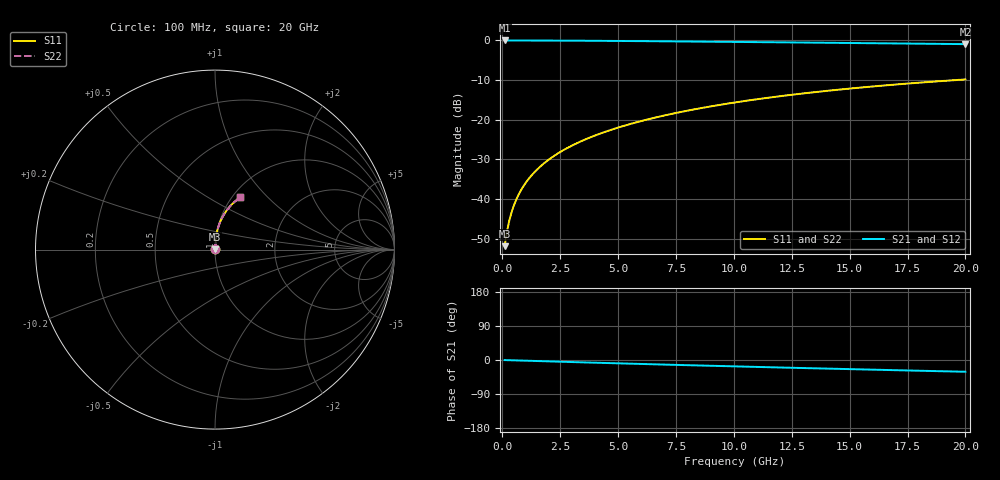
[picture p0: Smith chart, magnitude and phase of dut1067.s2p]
! Touchstone file exported from HFSS 2024.1.0
!  File:  C:/UserFiles/LocalFiles/RDL_TSV_Batchsim/temp_RDL_bottom_1067_1780052595.aedt
!  Generated:  07:05:45 PM May 29, 2026
!  Design:  RDL_bottom
!  Project:  temp_RDL_bottom_1067_1780052595
!  Setup:  Setup1
!  Solution:  Sweep
! Variables:
!  dtsv = 10.80580581um
!  hbump = 3um
!  htsv = 58.67um
!  ldown = 414.89um
!  lrdl = 100um
!  p = 40
!  p1 = 50.41um
!  rhole = 1um
!  t = 450um
!  tdown = 4.26um
!  trdl = 3.915915916um
!  wdown = 19.41um
!  wrdl = 20um
# GHz S MA R 50.000000
! Terminal data exported
! Port[1] = RDL1_T1
! Port[2] = RDL1_T2
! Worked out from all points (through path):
!   200 points, 100 MHz to 20 GHz, reference 50 ohm
!   highest |S21| = -0.02 dB at 100 MHz (marker M1); lowest = -0.9 dB at 20 GHz (marker M2)
!   group delay of S21, straight-line fit = 4.28 ps
!   lowest |S11| = -51.8 dB at 100 MHz (marker M3), VSWR 1.01, Z = 50.2 + j0.168 ohm
!   |S11| at or under -10 dB: start of sweep to 19.57 GHz
!   |S22| runs from -51.8 to -9.8 dB; largest |S21 - S12| = 2.6e-15
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0.1  0.002557 40.9  0.9981 -0.2  0.9981 -0.2  0.002557 40.9
! Gamma 0 0 0 0
! Port Impedance 50 0 50 0
0.2  0.003875 58.7  0.998 -0.4  0.998 -0.4  0.003875 58.7
0.3  0.005337 66.8  0.9978 -0.6  0.9978 -0.6  0.005337 66.8
0.4  0.006827 71.3  0.9977 -0.7  0.9977 -0.7  0.006827 71.3
0.5  0.008323 74.2  0.9976 -0.9  0.9976 -0.9  0.008324 74.2
0.6  0.009825 76.3  0.9975 -1.1  0.9975 -1.1  0.009825 76.3
0.8  0.01284 79.1  0.9973 -1.5  0.9973 -1.5  0.01284 79.1
1.1  0.01742 81.5  0.9969 -2.0  0.9969 -2.0  0.01742 81.5
1.5  0.02358 83.3  0.9962 -2.7  0.9962 -2.7  0.02358 83.3
1.8  0.02824 84.0  0.9956 -3.3  0.9956 -3.3  0.02824 84.0
2.1  0.03293 84.5  0.9949 -3.8  0.9949 -3.8  0.03293 84.5
2.7  0.04239 85.0  0.9932 -4.9  0.9932 -4.9  0.04239 85.0
3.5  0.05519 85.1  0.9904 -6.3  0.9904 -6.3  0.05519 85.1
4.2  0.06655 84.9  0.9875 -7.5  0.9875 -7.5  0.06655 84.9
5  0.07972 84.5  0.984 -8.9  0.984 -8.9  0.07972 84.5
5.9  0.09474 83.8  0.9796 -10.3  0.9796 -10.3  0.09473 83.8
6.8  0.1099 82.9  0.975 -11.8  0.975 -11.8  0.1099 82.9
8.4  0.1372 81.0  0.9663 -14.3  0.9663 -14.3  0.1372 81.0
10.1  0.1662 78.7  0.9568 -17.0  0.9568 -17.0  0.1662 78.7
13.4  0.2214 74.0  0.9376 -21.8  0.9376 -21.8  0.2213 73.9
16.7  0.2737 69.1  0.9175 -26.5  0.9175 -26.5  0.2737 69.1
20  0.3223 64.3  0.8969 -31.0  0.8969 -31.0  0.3222 64.3
